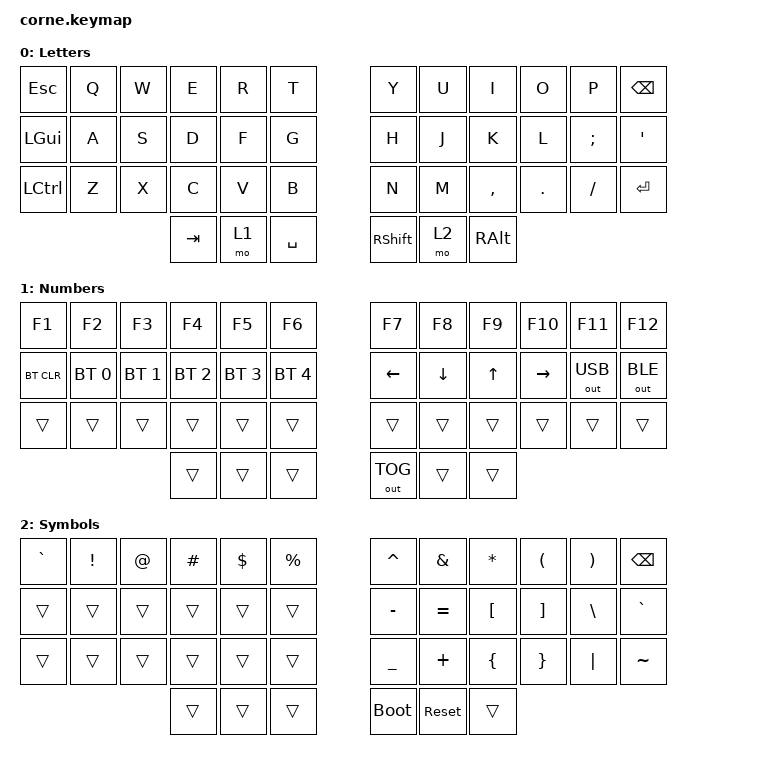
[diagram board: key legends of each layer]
#include <behaviors.dtsi>
#include <dt-bindings/zmk/keys.h>
#include <dt-bindings/zmk/bt.h>
#include <dt-bindings/zmk/outputs.h>

/ {
    keymap {
        compatible = "zmk,keymap";

        Letters {
            bindings = <
&kp ESC    &kp Q      &kp W      &kp E      &kp R      &kp T       &kp Y      &kp U      &kp I      &kp O      &kp P      &kp BSPC
&kp LGUI   &kp A      &kp S      &kp D      &kp F      &kp G       &kp H      &kp J      &kp K      &kp L      &kp SEMI   &kp SQT
&kp LCTRL  &kp Z      &kp X      &kp C      &kp V      &kp B       &kp N      &kp M      &kp COMMA  &kp DOT    &kp FSLH   &kp RET
                           &kp TAB  &mo 1     &kp SPACE    &kp RSHFT  &mo 2     &kp RALT
            >;
        };

        Numbers {
            bindings = <
&kp F1      &kp F2       &kp F3       &kp F4       &kp F5       &kp F6        &kp F7       &kp F8     &kp F9    &kp F10     &kp F11     &kp F12
&bt BT_CLR  &bt BT_SEL 0 &bt BT_SEL 1 &bt BT_SEL 2 &bt BT_SEL 3 &bt BT_SEL 4  &kp LEFT     &kp DOWN   &kp UP    &kp RIGHT   &out OUT_USB &out OUT_BLE
&trans      &trans       &trans       &trans       &trans       &trans        &trans       &trans     &trans    &trans      &trans       &trans
                           &trans  &trans      &trans       &out OUT_TOG  &trans      &trans
            >;
        };

        Symbols {
            bindings = <
&kp GRAVE  &kp EXCL  &kp AT  &kp HASH  &kp DLLR   &kp PRCNT   &kp CARET  &kp AMPS   &kp ASTRK  &kp LPAR  &kp RPAR  &kp BSPC
&trans     &trans    &trans  &trans    &trans     &trans      &kp MINUS  &kp EQUAL  &kp LBKT   &kp RBKT  &kp BSLH  &kp GRAVE
&trans     &trans    &trans  &trans    &trans     &trans      &kp UNDER  &kp PLUS   &kp LBRC   &kp RBRC  &kp PIPE  &kp TILDE
                             &trans    &trans     &trans      &bootloader  &sys_reset  &trans
            >;
        };
    };
};
